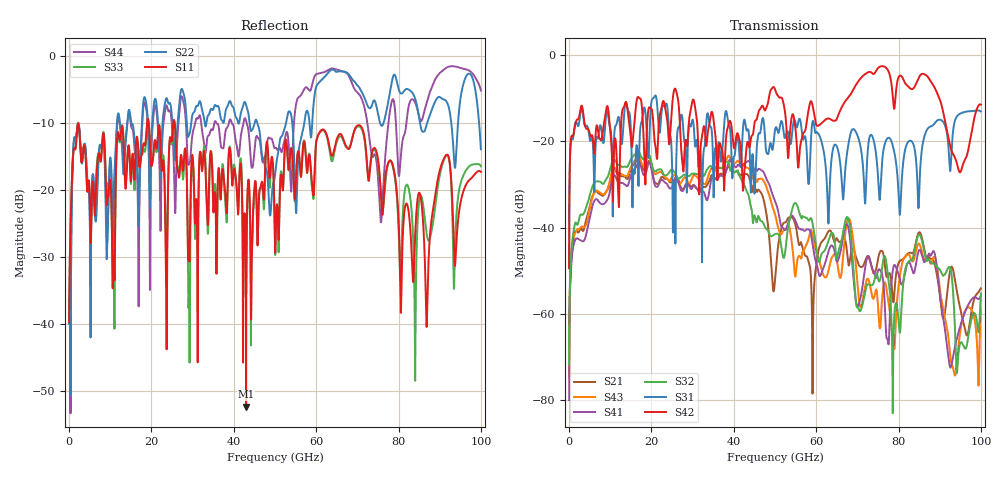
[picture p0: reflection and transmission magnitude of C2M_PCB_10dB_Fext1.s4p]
! Info: Touchstone file created by Circ.  Input file=Intel_C2M_200G_0p5in_202204012_staggered.circ
# Hz S RI R 50
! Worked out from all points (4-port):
!   10000 points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, 10 MHz to 100 GHz, reference 50 ohm
!   strongest paths, dB at 10 MHz, 25.01 GHz, 50.01 GHz, 75.01 GHz, 100 GHz:
!     S42: -49.4, -11.8, -7.9, -3.0, -11.5
!     S31: -49.5, -25.7, -17.3, -27.9, -13.0
!     S32: -71.9, -26.5, -41.5, -51.8, -55.3
!     S41: -80.1, -30.6, -33.9, -50.0, -55.9
!     S43: -74.7, -28.2, -36.9, -58.2, -58.8
!     S21: -74.6, -29.5, -52.1, -47.4, -54.1
!   lowest |S11| = -52.4 dB at 42.99 GHz (marker M1), VSWR 1.00, Z = 49.8 - j0.0733 ohm
!   |S11| at or under -10 dB: start of sweep to 18.91 GHz; 19.35 GHz to 25.29 GHz (5.948 GHz wide, 26.6 % of centre); 25.65 GHz to end of sweep
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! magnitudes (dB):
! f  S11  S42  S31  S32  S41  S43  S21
! 10 MHz  -39.7  -49.4  -49.5  -71.9  -80.1  -74.7  -74.6
! 1.92 GHz  -11.2  -14.9  -15.9  -39.3  -42.5  -40.5  -40.9
! 10.79 GHz  -29.9  -26.6  -23.3  -24.4  -28.1  -26.4  -26.4
! 12.75 GHz  -10.5  -14.2  -20.6  -25.9  -29.6  -27.6  -28.1
! 42.99 GHz  -52.4  -22.4  -17.0  -31.3  -24.8  -26.0  -27.6
! 59.19 GHz  -20.2  -12.0  -15.3  -39.4  -44.5  -42.1  -66.4
! 100 GHz  -17.3  -11.5  -13.0  -55.3  -55.9  -58.8  -54.1
